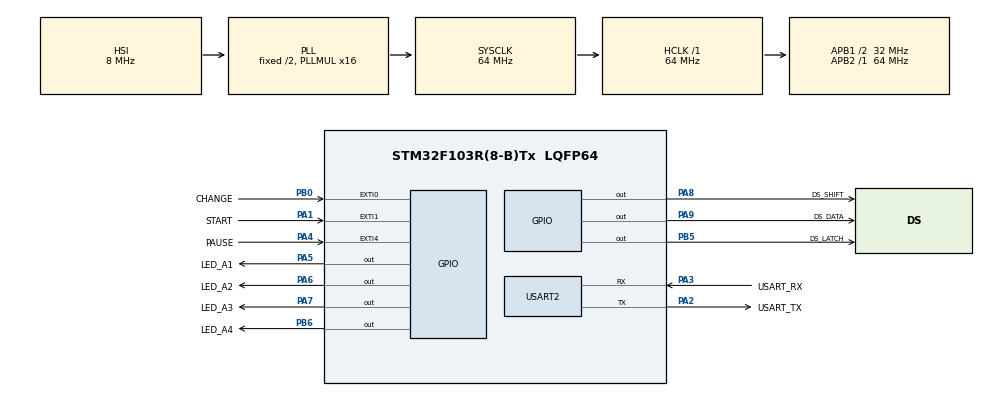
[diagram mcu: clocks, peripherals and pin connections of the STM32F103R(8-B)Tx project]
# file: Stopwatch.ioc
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Mcu.Family=STM32F1
Mcu.Name=STM32F103R(8-B)Tx
Mcu.Package=LQFP64
NVIC.EXTI0_IRQn=true\:0\:0\:false\:false\:true\:true\:true\:true
NVIC.EXTI1_IRQn=true\:0\:0\:false\:false\:true\:true\:true\:true
NVIC.EXTI4_IRQn=true\:0\:0\:false\:false\:true\:true\:true\:true
NVIC.PriorityGroup=NVIC_PRIORITYGROUP_4
NVIC.TIM1_UP_IRQn=true\:0\:0\:false\:false\:true\:true\:true\:true
PA1.GPIO_Label=START
PA1.Signal=GPXTI1
PA13.GPIO_Label=TMS
PA13.Mode=Serial_Wire
PA13.Signal=SYS_JTMS-SWDIO
PA14.GPIO_Label=TCK
PA14.Mode=Serial_Wire
PA14.Signal=SYS_JTCK-SWCLK
PA2.GPIO_Label=USART_TX
PA2.GPIO_Mode=GPIO_MODE_AF_PP
PA2.GPIO_PuPd=GPIO_NOPULL
PA2.GPIO_Speed=GPIO_SPEED_FREQ_LOW
PA2.Mode=Asynchronous
PA2.Signal=USART2_TX
PA3.GPIO_Label=USART_RX
PA3.GPIO_Mode=GPIO_MODE_AF_PP
PA3.GPIO_PuPd=GPIO_NOPULL
PA3.GPIO_Speed=GPIO_SPEED_FREQ_LOW
PA3.Mode=Asynchronous
PA3.Signal=USART2_RX
PA4.GPIO_Label=PAUSE
PA4.Signal=GPXTI4
PA5.GPIO_Label=LED_A1
PA5.Signal=GPIO_Output
PA6.GPIO_Label=LED_A2
PA6.Signal=GPIO_Output
PA7.GPIO_Label=LED_A3
PA7.Signal=GPIO_Output
PA8.GPIO_Label=DS_SHIFT
PA8.Signal=GPIO_Output
PA9.GPIO_Label=DS_DATA
PA9.Signal=GPIO_Output
PB0.GPIO_Label=CHANGE
PB0.Signal=GPXTI0
PB3.GPIO_Label=SWO
PB3.Signal=SYS_JTDO-TRACESWO
PB5.GPIO_Label=DS_LATCH
PB5.Signal=GPIO_Output
PB6.GPIO_Label=LED_A4
PB6.Signal=GPIO_Output
PC14-OSC32_IN.Mode=LSE-External-Oscillator
PC14-OSC32_IN.Signal=RCC_OSC32_IN
PC15-OSC32_OUT.Mode=LSE-External-Oscillator
PC15-OSC32_OUT.Signal=RCC_OSC32_OUT
PD0-OSC_IN.Mode=HSE-External-Oscillator
PD0-OSC_IN.Signal=RCC_OSC_IN
PD1-OSC_OUT.Mode=HSE-External-Oscillator
PD1-OSC_OUT.Signal=RCC_OSC_OUT
ProjectManager.HeapSize=0x200
ProjectManager.StackSize=0x400
ProjectManager.TargetToolchain=MDK-ARM V5.32
RCC.AHBFreq_Value=64000000
RCC.APB1CLKDivider=RCC_HCLK_DIV2
RCC.APB1Freq_Value=32000000
RCC.APB1TimFreq_Value=64000000
RCC.APB2Freq_Value=64000000
RCC.APB2TimFreq_Value=64000000
RCC.HCLKFreq_Value=64000000
RCC.PLLMUL=RCC_PLL_MUL16
RCC.RTCClockSelection=RCC_RTCCLKSOURCE_LSE
RCC.SYSCLKFreq_VALUE=64000000
RCC.SYSCLKSource=RCC_SYSCLKSOURCE_PLLCLK
RCC.USBFreq_Value=64000000
TIM1.Period=100
TIM1.Prescaler=639
USART2.VirtualMode=VM_ASYNC
VP_TIM1_VS_ClockSourceINT.Mode=Internal
board=NUCLEO-F103RB

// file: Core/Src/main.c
/* USER CODE BEGIN Header */
/**
  ******************************************************************************
  * @file           : main.c
  * @brief          : Main program body
  ******************************************************************************
  * @attention
  *
  * Copyright (c) 2022 STMicroelectronics.
  * All rights reserved.
  *
  * This software is licensed under terms that can be found in the LICENSE file
  * in the root directory of this software component.
  * If no LICENSE file comes with this software, it is provided AS-IS.
  *
  ******************************************************************************
  */
/* USER CODE END Header */
#include "main.h"

TIM_HandleTypeDef htim1;

UART_HandleTypeDef huart2;

void SystemClock_Config(void);
static void MX_GPIO_Init(void);
static void MX_USART2_UART_Init(void);
static void MX_TIM1_Init(void);

/* USER CODE BEGIN 0 */

volatile uint16_t time = 0;
int state = STOPPED;
int mode = DECIMAL;

// =============== TIME ===================
const uint8_t simple_digits[]   = { 0xC0, 0xF9, 0xA4, 0xB0, 0x99, 0x92, 0x82, 0xD8, 0x80, 0x90 };
                            /*  0.    1.    2.    3.    4.    5.    6.    7.    8.    9.  */
const uint8_t digits_with_dot[] = { 0x40, 0x79, 0x24, 0x30, 0x19, 0x12, 0x02, 0x58, 0x00, 0x10 };
                      /*   1     2     3     4  */
const uint8_t positions[] = { 0x01, 0x02, 0x04, 0x08 };

void setDecimal() {
	int deciseconds = time % 10;
	int seconds = (time / 10) % 60;
	int minutes = time / 600;

	setDigit(positions[0], digits_with_dot[minutes % 10]);
	setDigit(positions[1], simple_digits[seconds / 10]);
	setDigit(positions[2], digits_with_dot[seconds % 10]);
	setDigit(positions[3], simple_digits[deciseconds]);
}

void setSeconds() {
	int deciseconds = time % 10;
	int seconds = (time / 10) % 60;
	int minutes = time / 600;

	setDigit(positions[0], simple_digits[minutes / 10]);
	setDigit(positions[1], digits_with_dot[minutes % 10]);
	setDigit(positions[2], simple_digits[seconds / 10]);
	setDigit(positions[3], simple_digits[seconds % 10]);
}

void (*modes[])() = {setDecimal, setSeconds};

void setTime() {
	modes[mode]();

}

// ================= DISPLAYING ===================
void setDigit(uint8_t position, uint8_t digit){
  int j = 0;
	while(j < 8) {
	  if (((digit << j) & 0x80) != 0) {
		  HAL_GPIO_WritePin(DS_DATA_GPIO_Port, DS_DATA_Pin, GPIO_PIN_SET);
		} else {
		  HAL_GPIO_WritePin(DS_DATA_GPIO_Port, DS_DATA_Pin, GPIO_PIN_RESET);
		}
		HAL_GPIO_WritePin(DS_SHIFT_GPIO_Port, DS_SHIFT_Pin, GPIO_PIN_SET);
		HAL_GPIO_WritePin(DS_SHIFT_GPIO_Port, DS_SHIFT_Pin, GPIO_PIN_RESET);
		j++;
	}

	j = 0;
	while(j < 8) {
	  if (((position << j) & 0x80) != 0) {
		  HAL_GPIO_WritePin(DS_DATA_GPIO_Port, DS_DATA_Pin, GPIO_PIN_SET);
		} else {
		  HAL_GPIO_WritePin(DS_DATA_GPIO_Port, DS_DATA_Pin, GPIO_PIN_RESET);
		}
		HAL_GPIO_WritePin(DS_SHIFT_GPIO_Port, DS_SHIFT_Pin, GPIO_PIN_SET);
		HAL_GPIO_WritePin(DS_SHIFT_GPIO_Port, DS_SHIFT_Pin, GPIO_PIN_RESET);
		j++;
	}

	HAL_GPIO_WritePin(DS_LATCH_GPIO_Port, DS_LATCH_Pin, GPIO_PIN_SET);
	HAL_GPIO_WritePin(DS_LATCH_GPIO_Port, DS_LATCH_Pin, GPIO_PIN_RESET);
}

// ================= LEDS ==================

uint16_t LED_PINS[] = {LED_A1_Pin, LED_A2_Pin, LED_A3_Pin};
GPIO_TypeDef* LED_PORTS[] = {LED_A1_GPIO_Port, LED_A2_GPIO_Port, LED_A3_GPIO_Port};

void setLed(int stateType) {
	HAL_GPIO_WritePin(LED_PORTS[stateType], LED_PINS[stateType], state != stateType);
}

void setLeds() {
	setLed(STOPPED);
	setLed(STARTED);
	setLed(PAUSED);
}

/* USER CODE END 0 */

int main(void)
{

  /* MCU Configuration--------------------------------------------------------*/

  /* Reset of all peripherals, Initializes the Flash interface and the Systick. */
  HAL_Init();

  /* Configure the system clock */
  SystemClock_Config();

  /* Initialize all configured peripherals */
  MX_GPIO_Init();
  MX_USART2_UART_Init();
  MX_TIM1_Init();
  /* USER CODE BEGIN 2 */
	HAL_TIM_Base_Start_IT(&htim1);

  /* USER CODE END 2 */

  /* Infinite loop */
  /* USER CODE BEGIN WHILE */
  while (1)
  {
		setTime();
    /* USER CODE END WHILE */

  }
}

void SystemClock_Config(void)
{
  RCC_OscInitTypeDef RCC_OscInitStruct = {0};
  RCC_ClkInitTypeDef RCC_ClkInitStruct = {0};

  /** Initializes the RCC Oscillators according to the specified parameters
  * in the RCC_OscInitTypeDef structure.
  */
  RCC_OscInitStruct.OscillatorType = RCC_OSCILLATORTYPE_HSI;
  RCC_OscInitStruct.HSIState = RCC_HSI_ON;
  RCC_OscInitStruct.HSICalibrationValue = RCC_HSICALIBRATION_DEFAULT;
  RCC_OscInitStruct.PLL.PLLState = RCC_PLL_ON;
  RCC_OscInitStruct.PLL.PLLSource = RCC_PLLSOURCE_HSI_DIV2;
  RCC_OscInitStruct.PLL.PLLMUL = RCC_PLL_MUL16;
  if (HAL_RCC_OscConfig(&RCC_OscInitStruct) != HAL_OK)
  {
    Error_Handler();
  }

  /** Initializes the CPU, AHB and APB buses clocks
  */
  RCC_ClkInitStruct.ClockType = RCC_CLOCKTYPE_HCLK|RCC_CLOCKTYPE_SYSCLK
                              |RCC_CLOCKTYPE_PCLK1|RCC_CLOCKTYPE_PCLK2;
  RCC_ClkInitStruct.SYSCLKSource = RCC_SYSCLKSOURCE_PLLCLK;
  RCC_ClkInitStruct.AHBCLKDivider = RCC_SYSCLK_DIV1;
  RCC_ClkInitStruct.APB1CLKDivider = RCC_HCLK_DIV2;
  RCC_ClkInitStruct.APB2CLKDivider = RCC_HCLK_DIV1;

  if (HAL_RCC_ClockConfig(&RCC_ClkInitStruct, FLASH_LATENCY_2) != HAL_OK)
  {
    Error_Handler();
  }
}

static void MX_TIM1_Init(void)
{

  TIM_ClockConfigTypeDef sClockSourceConfig = {0};
  TIM_MasterConfigTypeDef sMasterConfig = {0};

  htim1.Instance = TIM1;
  htim1.Init.Prescaler = 639;
  htim1.Init.CounterMode = TIM_COUNTERMODE_UP;
  htim1.Init.Period = 100;
  htim1.Init.ClockDivision = TIM_CLOCKDIVISION_DIV1;
  htim1.Init.RepetitionCounter = 0;
  htim1.Init.AutoReloadPreload = TIM_AUTORELOAD_PRELOAD_DISABLE;
  if (HAL_TIM_Base_Init(&htim1) != HAL_OK)
  {
    Error_Handler();
  }
  sClockSourceConfig.ClockSource = TIM_CLOCKSOURCE_INTERNAL;
  if (HAL_TIM_ConfigClockSource(&htim1, &sClockSourceConfig) != HAL_OK)
  {
    Error_Handler();
  }
  sMasterConfig.MasterOutputTrigger = TIM_TRGO_RESET;
  sMasterConfig.MasterSlaveMode = TIM_MASTERSLAVEMODE_DISABLE;
  if (HAL_TIMEx_MasterConfigSynchronization(&htim1, &sMasterConfig) != HAL_OK)
  {
    Error_Handler();
  }

}

static void MX_USART2_UART_Init(void)
{

  huart2.Instance = USART2;
  huart2.Init.BaudRate = 115200;
  huart2.Init.WordLength = UART_WORDLENGTH_8B;
  huart2.Init.StopBits = UART_STOPBITS_1;
  huart2.Init.Parity = UART_PARITY_NONE;
  huart2.Init.Mode = UART_MODE_TX_RX;
  huart2.Init.HwFlowCtl = UART_HWCONTROL_NONE;
  huart2.Init.OverSampling = UART_OVERSAMPLING_16;
  if (HAL_UART_Init(&huart2) != HAL_OK)
  {
    Error_Handler();
  }

}

static void MX_GPIO_Init(void)
{
  GPIO_InitTypeDef GPIO_InitStruct = {0};

  /* GPIO Ports Clock Enable */
  __HAL_RCC_GPIOC_CLK_ENABLE();
  __HAL_RCC_GPIOD_CLK_ENABLE();
  __HAL_RCC_GPIOA_CLK_ENABLE();
  __HAL_RCC_GPIOB_CLK_ENABLE();

  /*Configure GPIO pin Output Level */
  HAL_GPIO_WritePin(GPIOA, LED_A1_Pin|LED_A2_Pin|LED_A3_Pin|DS_SHIFT_Pin
                          |DS_DATA_Pin, GPIO_PIN_RESET);

  /*Configure GPIO pin Output Level */
  HAL_GPIO_WritePin(GPIOB, DS_LATCH_Pin|LED_A4_Pin, GPIO_PIN_RESET);

  /*Configure GPIO pins : START_Pin PAUSE_Pin */
  GPIO_InitStruct.Pin = START_Pin|PAUSE_Pin;
  GPIO_InitStruct.Mode = GPIO_MODE_IT_RISING;
  GPIO_InitStruct.Pull = GPIO_NOPULL;
  HAL_GPIO_Init(GPIOA, &GPIO_InitStruct);

  /*Configure GPIO pins : LED_A1_Pin LED_A2_Pin LED_A3_Pin DS_SHIFT_Pin
                           DS_DATA_Pin */
  GPIO_InitStruct.Pin = LED_A1_Pin|LED_A2_Pin|LED_A3_Pin|DS_SHIFT_Pin
                          |DS_DATA_Pin;
  GPIO_InitStruct.Mode = GPIO_MODE_OUTPUT_PP;
  GPIO_InitStruct.Pull = GPIO_NOPULL;
  GPIO_InitStruct.Speed = GPIO_SPEED_FREQ_LOW;
  HAL_GPIO_Init(GPIOA, &GPIO_InitStruct);

  /*Configure GPIO pin : CHANGE_Pin */
  GPIO_InitStruct.Pin = CHANGE_Pin;
  GPIO_InitStruct.Mode = GPIO_MODE_IT_RISING;
  GPIO_InitStruct.Pull = GPIO_NOPULL;
  HAL_GPIO_Init(CHANGE_GPIO_Port, &GPIO_InitStruct);

  /*Configure GPIO pins : DS_LATCH_Pin LED_A4_Pin */
  GPIO_InitStruct.Pin = DS_LATCH_Pin|LED_A4_Pin;
  GPIO_InitStruct.Mode = GPIO_MODE_OUTPUT_PP;
  GPIO_InitStruct.Pull = GPIO_NOPULL;
  GPIO_InitStruct.Speed = GPIO_SPEED_FREQ_LOW;
  HAL_GPIO_Init(GPIOB, &GPIO_InitStruct);

  /* EXTI interrupt init*/
  HAL_NVIC_SetPriority(EXTI0_IRQn, 0, 0);
  HAL_NVIC_EnableIRQ(EXTI0_IRQn);

  HAL_NVIC_SetPriority(EXTI1_IRQn, 0, 0);
  HAL_NVIC_EnableIRQ(EXTI1_IRQn);

  HAL_NVIC_SetPriority(EXTI4_IRQn, 0, 0);
  HAL_NVIC_EnableIRQ(EXTI4_IRQn);

}

void Error_Handler(void)
{
  __disable_irq();
  while (1)
  {
  }
}
